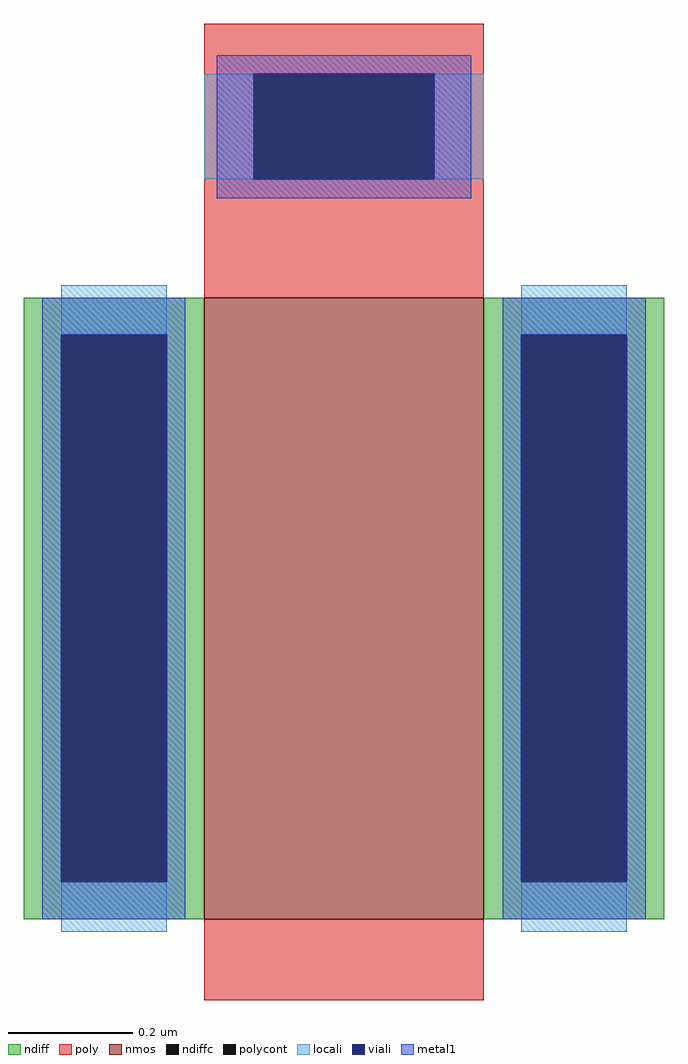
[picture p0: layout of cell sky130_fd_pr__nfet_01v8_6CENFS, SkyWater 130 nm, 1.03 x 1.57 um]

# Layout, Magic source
magic
tech sky130A
magscale 1 2
<< nmos >>
rect -45 -131 45 69
<< ndiff >>
rect -103 57 -45 69
rect -103 -119 -91 57
rect -57 -119 -45 57
rect -103 -131 -45 -119
rect 45 57 103 69
rect 45 -119 57 57
rect 91 -119 103 57
rect 45 -131 103 -119
<< ndiffc >>
rect -91 -119 -57 57
rect 57 -119 91 57
<< poly >>
rect -45 141 45 157
rect -45 107 -29 141
rect 29 107 45 141
rect -45 69 45 107
rect -45 -157 45 -131
<< polycont >>
rect -29 107 29 141
<< locali >>
rect -45 107 -29 141
rect 29 107 45 141
rect -91 57 -57 73
rect -91 -135 -57 -119
rect 57 57 91 73
rect 57 -135 91 -119
<< viali >>
rect -29 107 29 141
rect -91 -119 -57 57
rect 57 -119 91 57
<< metal1 >>
rect -41 141 41 147
rect -41 107 -29 141
rect 29 107 41 141
rect -41 101 41 107
rect -97 57 -51 69
rect -97 -119 -91 57
rect -57 -119 -51 57
rect -97 -131 -51 -119
rect 51 57 97 69
rect 51 -119 57 57
rect 91 -119 97 57
rect 51 -131 97 -119
<< properties >>
string gencell sky130_fd_pr__nfet_01v8
string library sky130
string parameters w 1.0 l 0.45 m 1 nf 1 diffcov 100 polycov 100 guard 0 glc 1 grc 1 gtc 1 gbc 1 tbcov 100 rlcov 100 topc 1 botc 0 poverlap 0 doverlap 1 lmin 0.15 wmin 0.42 compatible {sky130_fd_pr__nfet_01v8 sky130_fd_pr__nfet_01v8_lvt  sky130_fd_bs_flash__special_sonosfet_star  sky130_fd_pr__nfet_g5v0d10v5 sky130_fd_pr__nfet_05v0_nvt  sky130_fd_pr__nfet_03v3_nvt} full_metal 1 viasrc 100 viadrn 100 viagate 100 viagb 0 viagr 0 viagl 0 viagt 0
<< end >>
